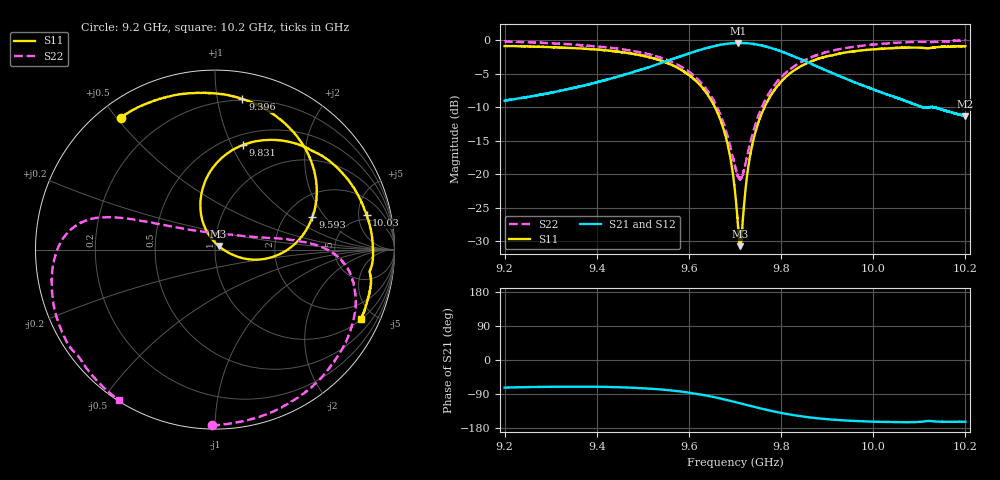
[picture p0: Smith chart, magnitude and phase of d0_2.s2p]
!Agilent Technologies,N5242A,MY51221714,A.09.90.19
!Agilent N5242A: A.09.90.19
!Date: Saturday, March 16, 2024 09:02:14
!Correction: S11(Full 2 Port(1,2))
!S21(Full 2 Port(1,2))
!S12(Full 2 Port(1,2))
!S22(Full 2 Port(1,2))
!S2P File: Measurements: S11, S21, S12, S22:
# Hz S  dB  R 50
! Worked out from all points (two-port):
!   16001 points, 9.2 GHz to 10.2 GHz, reference 50 ohm
!   highest |S21| = -0.40 dB at 9.706 GHz (marker M1); lowest = -11.3 dB at 10.2 GHz (marker M2)
!   |S21| within 3 dB of the highest: 9.539523 GHz to 9.539744 GHz (220.8 kHz wide, 0.00231 % of centre); 9.54 GHz to 9.861 GHz (321.1 MHz wide, 3.31 % of centre)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
!   lowest |S11| = -30.8 dB at 9.711 GHz (marker M3), VSWR 1.06, Z = 52 + j2.18 ohm
!   |S11| at or under -10 dB: 9.656 GHz to 9.764 GHz (107.7 MHz wide, 1.11 % of centre); 9.76408 GHz to 9.764164 GHz (84.4 kHz wide, 0.000864 % of centre)
!   |S22| runs from -20.8 to 0.0 dB; largest |S21 - S12| = 0.012
!   S11 on the Smith chart (normalised r, x): 9.2 GHz: 0.06, +0.51; 9.396 GHz: 0.19, +1.18; 9.593 GHz: 2.78, +1.50; 9.831 GHz: 0.61, +1.11; 10.03 GHz: 4.11, +6.32; 10.2 GHz: 1.02, -4.20
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9.2e9  -0.89 125.4  -9.03 -72.8  -9.02 -73.3  -0.18 -91.1
9.277688e9  -0.99 108.0  -8.13 -71.1  -8.12 -71.5  -0.38 -69.6
9.366688e9  -1.25 87.1  -6.86 -70.5  -6.84 -70.9  -0.74 -45.9
9.395625e9  -1.38 79.7  -6.37 -70.7  -6.35 -71.1  -0.91 -38.5
9.533375e9  -2.93 40.0  -3.56 -77.1  -3.54 -77.7  -2.50 -8.4
9.592562e9  -4.85 18.5  -2.16 -84.9  -2.15 -85.3  -4.35 0.9
9.663938e9  -11.15 -10.9  -0.76 -100.4  -0.75 -100.9  -10.42 12.5
9.685438e9  -16.02 -17.2  -0.51 -106.5  -0.50 -107.0  -14.75 24.1
9.7e9  -22.49 -12.2  -0.43 -110.8  -0.42 -111.3  -18.86 47.1
9.70575e9  -26.90 1.9  -0.40 -112.6  -0.40 -113.1  -20.28 64.3
9.711125e9  -30.75 46.1  -0.42 -114.2  -0.41 -114.8  -20.76 84.3
9.73025e9  -18.29 114.4  -0.48 -120.1  -0.47 -120.7  -16.14 137.0
9.749438e9  -12.54 110.1  -0.68 -125.9  -0.66 -126.5  -11.51 151.3
9.784125e9  -7.59 95.1  -1.29 -135.7  -1.30 -136.2  -6.86 159.0
9.830562e9  -4.40 75.1  -2.51 -146.1  -2.50 -146.7  -3.79 163.8
9.866688e9  -3.13 61.2  -3.58 -152.2  -3.56 -152.7  -2.51 167.9
9.950438e9  -1.73 33.8  -6.02 -160.3  -6.04 -160.8  -1.07 -178.9
1.002838e10  -1.24 12.8  -8.06 -163.4  -8.06 -163.9  -0.49 -163.1
1.003338e10  -1.23 11.4  -8.18 -163.6  -8.18 -164.1  -0.47 -162.0
1.010562e10  -1.13 -6.0  -9.98 -162.7  -9.97 -163.3  -0.23 -146.0
1.019988e10  -0.91 -25.4  -11.34 -162.8  -11.32 -163.3  -0.04 -122.4
1.02e10  -0.90 -25.4  -11.33 -162.8  -11.34 -163.3  -0.05 -122.4
